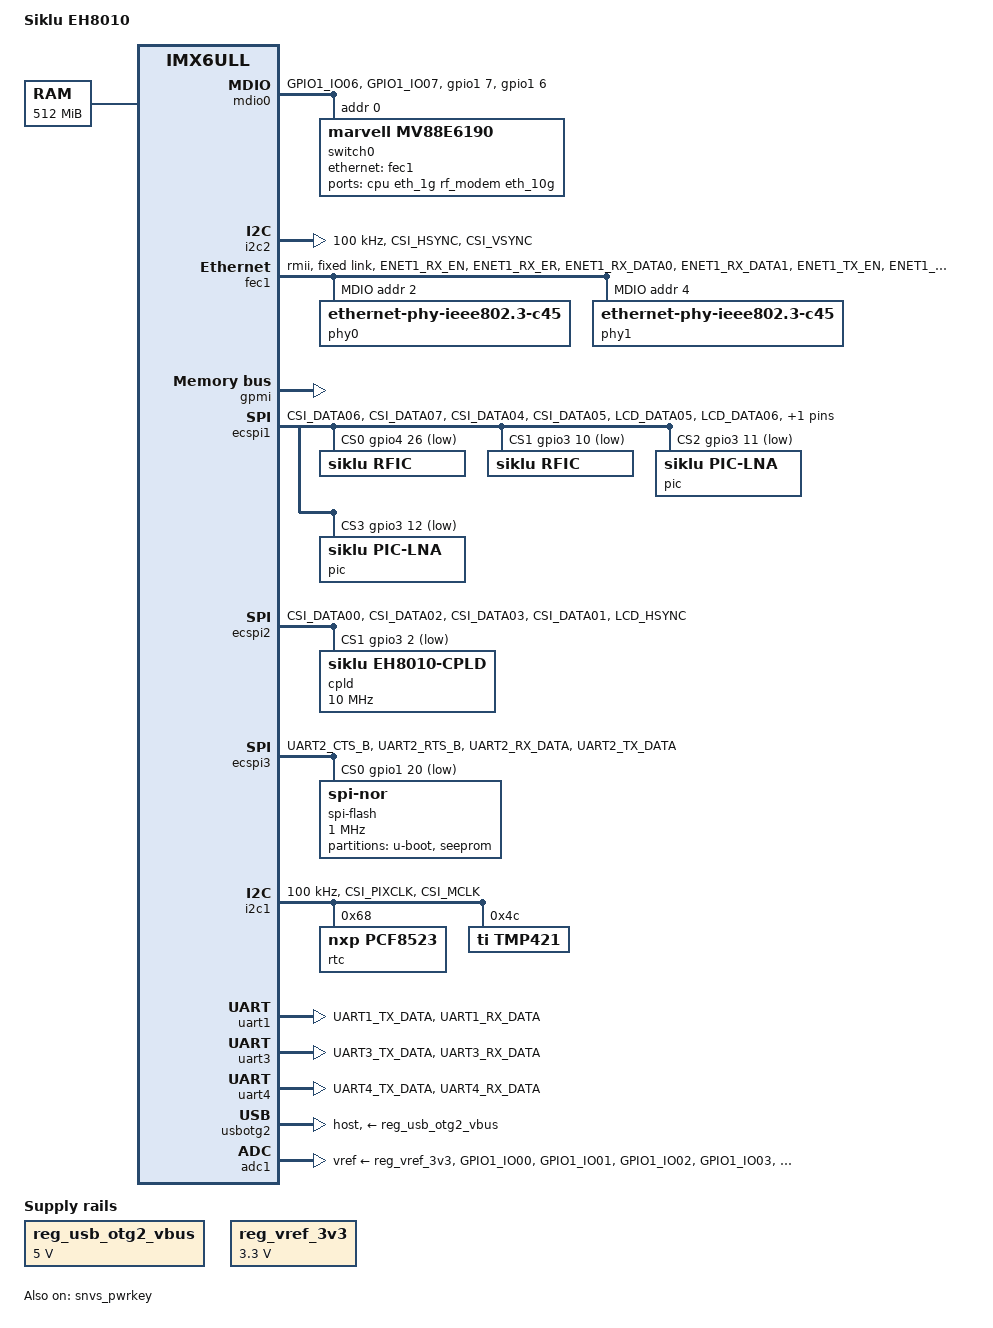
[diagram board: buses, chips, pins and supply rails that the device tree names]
// SPDX-License-Identifier: GPL-2.0
//
// Copyright (C) 2015 Freescale Semiconductor, Inc.

/dts-v1/;

#include "imx6ull.dtsi"

/ {
	model = "Siklu EH8010";
	compatible = "fsl,imx6ull";

	aliases {
		mdio-gpio0 = &mdio0;
	};

	chosen {
		stdout-path = &uart1;
	};

	memory@80000000 {
		device_type = "memory";
		reg = <0x80000000 0x20000000>;
	};

	reserved-memory {
		#address-cells = <1>;
		#size-cells = <1>;
		ranges;

		linux,cma {
			compatible = "shared-dma-pool";
			reusable;
			size = <0x14000000>;
			linux,cma-default;
		};
	};

	reg_usb_otg2_vbus: regulator-usb-otg {
		compatible = "regulator-fixed";
		regulator-name = "usb_otg2_vbus";
		regulator-min-microvolt = <5000000>;
		regulator-max-microvolt = <5000000>;
	};

	reg_vref_3v3: regulator-vref-3v3 {
		compatible = "regulator-fixed";
		regulator-name = "vref-3v3";
		regulator-min-microvolt = <3300000>;
		regulator-max-microvolt = <3300000>;
	};

	mdio0: bitbang-mdio {
		compatible = "virtual,mdio-gpio";
		pinctrl-names = "default";
		pinctrl-0 = <&pinctrl_mdio_bitbang>;
		gpios = <&gpio1 7 GPIO_ACTIVE_HIGH>, /* MDC */
			<&gpio1 6 GPIO_ACTIVE_HIGH>; /* MDIO */
		#address-cells = <1>;
		#size-cells = <0>;

		switch0@0 {
			compatible = "marvell,mv88e6190";
			reg = <0>;

			ports {
				#address-cells = <1>;
				#size-cells = <0>;

				port@0 {
					reg = <0>;
					label = "cpu";
					ethernet = <&fec1>;
					phy-mode = "rmii";
					fixed-link {
						speed = <100>;
						full-duplex;
					};
				};

				port@5 {
					reg = <5>;
					label = "eth_1g";
				};

				port@9 {
					reg = <9>;
					label = "rf_modem";
					phy-mode = "10gbase-r";
					phy-handle = <&phy1>;
				};

				port@10 {
					reg = <10>;
					label = "eth_10g";
					phy-mode = "10gbase-r";
					phy-handle = <&phy0>;
				};
			};
		};
	};
};

&clks {
	assigned-clocks = <&clks IMX6UL_CLK_PLL4_AUDIO_DIV>;
	assigned-clock-rates = <786432000>;
};

&i2c2 {
	clock-frequency = <100000>;
	pinctrl-names = "default";
	pinctrl-0 = <&pinctrl_i2c2>;
	status = "okay";
};

&fec1 {
	pinctrl-names = "default";
	pinctrl-0 = <&pinctrl_enet1>;
	phy-mode = "rmii";
	status = "okay";
	fixed-link {
		speed = <100>;
		full-duplex;
	};

	mdio {
		#address-cells = <1>;
		#size-cells = <0>;
		status = "okay";

		phy0: ethernet-phy@2 {
			compatible = "ethernet-phy-ieee802.3-c45";
			reg = <2>;
		};

		phy1: ethernet-phy@4 {
			compatible = "ethernet-phy-ieee802.3-c45";
			reg = <4>;
		};
	};
};

&gpmi {
	status = "okay";
};

&ecspi1 {
	cs-gpios = <
		&gpio4 26 GPIO_ACTIVE_LOW
		&gpio3 10 GPIO_ACTIVE_LOW
		&gpio3 11 GPIO_ACTIVE_LOW
		&gpio3 12 GPIO_ACTIVE_LOW
	>;
	pinctrl-names = "default";
	pinctrl-0 = <&pinctrl_ecspi1>;
	status = "okay";

	rfic@0 {
		compatible = "siklu,rfic";
		reg = <0>;
	};

	rfic@1 {
		compatible = "siklu,rfic";
		reg = <1>;
	};

	pic@2 {
		compatible = "siklu,pic-lna";
		reg = <2>;
	};

	pic@3 {
		compatible = "siklu,pic-lna";
		reg = <3>;
	};
};

&ecspi2 {
	cs-gpios = <
		&gpio4 22 GPIO_ACTIVE_LOW
		&gpio3 2 GPIO_ACTIVE_LOW
	>;
	pinctrl-names = "default";
	pinctrl-0 = <&pinctrl_ecspi2>;
	status = "okay";

	cpld@1 {
		compatible = "siklu,eh8010-cpld";
		spi-max-frequency = <10000000>;
		reg = <1>;

		cpld_wd: watchdog {
			compatible = "siklu,eh8010-cpld-wdt";
		};

		reset {
			compatible = "siklu,eh8010-cpld-reset";
		};
	};
};

&ecspi3 {
	cs-gpios = <
		&gpio1 20 GPIO_ACTIVE_LOW
	>;
	pinctrl-names = "default";
	pinctrl-0 = <&pinctrl_ecspi3>;
	status = "okay";

	spi-flash@0 {
		#address-cells = <1>;
		#size-cells = <1>;
		compatible = "jedec,spi-nor";
		reg = <0>;
		spi-max-frequency = <1000000>;

		partition@0 {
			reg = <0x0 0x200000>;
			label = "u-boot";
			read-only;
		};

		partition@1f0000 {
			reg = <0x1f0000 0x10000>;
			label = "seeprom";
		};
	};
};

&i2c1 {
	clock-frequency = <100000>;
	pinctrl-names = "default";
	pinctrl-0 = <&pinctrl_i2c1>;
	status = "okay";

	rtc: pcf8523@68 {
		compatible = "nxp,pcf8523";
		reg = <0x68>;
	};

	tmp421@4c {
		compatible = "ti,tmp421";
		reg = <0x4c>;
	};
};

&snvs_poweroff {
	status = "okay";
};

&snvs_pwrkey {
	status = "okay";
};

&uart1 {
	pinctrl-names = "default";
	pinctrl-0 = <&pinctrl_uart1>;
	status = "okay";
};

&uart3 {
	pinctrl-names = "default";
	pinctrl-0 = <&pinctrl_uart3>;
	status = "okay";
};

&uart4 {
	pinctrl-names = "default";
	pinctrl-0 = <&pinctrl_uart4>;
	status = "okay";
};

&usbotg2 {
	vbus-supply = <&reg_usb_otg2_vbus>;
	dr_mode = "host";
	disable-over-current;
	status = "okay";
};

&usbphy2 {
	fsl,tx-d-cal = <106>;
};

&adc1 {
	pinctrl-names = "default";
	pinctrl-0 = <&pinctrl_adc1>;
	vref-supply = <&reg_vref_3v3>;
	num-channels = <8>;
	status = "okay";
};

&iomuxc {
	pinctrl-names = "default";

	pinctrl_enet1: enet1grp {
		fsl,pins = <
			MX6UL_PAD_ENET1_RX_EN__ENET1_RX_EN	0x1b0b0
			MX6UL_PAD_ENET1_RX_ER__ENET1_RX_ER	0x1b0b0
			MX6UL_PAD_ENET1_RX_DATA0__ENET1_RDATA00	0x1b0b0
			MX6UL_PAD_ENET1_RX_DATA1__ENET1_RDATA01	0x1b0b0
			MX6UL_PAD_ENET1_TX_EN__ENET1_TX_EN	0x1b0b0
			MX6UL_PAD_ENET1_TX_DATA0__ENET1_TDATA00	0x1b0b0
			MX6UL_PAD_ENET1_TX_DATA1__ENET1_TDATA01	0x1b0b0
			MX6UL_PAD_ENET1_TX_CLK__ENET1_REF_CLK1	0x4001b031
			MX6UL_PAD_ENET2_RX_DATA0__ENET1_MDIO	0xb829
			MX6UL_PAD_ENET2_RX_DATA1__ENET1_MDC	0xb029
		>;
	};

	pinctrl_mdio_bitbang: mdio0grp {
		fsl,pins = <
			MX6UL_PAD_GPIO1_IO06__GPIO1_IO06	0x1b8b0
			MX6UL_PAD_GPIO1_IO07__GPIO1_IO07	0x1b0b0
		>;
	};

	pinctrl_i2c1: i2c1grp {
		fsl,pins = <
			MX6UL_PAD_CSI_PIXCLK__I2C1_SCL	0x4001b8b0
			MX6UL_PAD_CSI_MCLK__I2C1_SDA	0x4001b8b0
		>;
	};

	pinctrl_i2c2: i2c2grp {
		fsl,pins = <
			MX6UL_PAD_CSI_HSYNC__I2C2_SCL	0x4001b8b0
			MX6UL_PAD_CSI_VSYNC__I2C2_SDA	0x4001b8b0
		>;
	};

	pinctrl_uart1: uart1grp {
		fsl,pins = <
			MX6UL_PAD_UART1_TX_DATA__UART1_DCE_TX 0x1b0b1
			MX6UL_PAD_UART1_RX_DATA__UART1_DCE_RX 0x1b0b1
		>;
	};

	pinctrl_uart3: uart3grp {
		fsl,pins = <
			MX6UL_PAD_UART3_TX_DATA__UART3_DCE_TX 0x1b0b1
			MX6UL_PAD_UART3_RX_DATA__UART3_DCE_RX 0x1b0b1
		>;
	};

	pinctrl_uart4: uart4grp {
		fsl,pins = <
			MX6UL_PAD_UART4_TX_DATA__UART4_DCE_TX 0x1b0b1
			MX6UL_PAD_UART4_RX_DATA__UART4_DCE_RX 0x1b0b1
		>;
	};

	pinctrl_adc1: adc1grp {
		fsl,pins = <
			MX6UL_PAD_GPIO1_IO00__GPIO1_IO00        0xb0
			MX6UL_PAD_GPIO1_IO01__GPIO1_IO01        0xb0
			MX6UL_PAD_GPIO1_IO02__GPIO1_IO02        0xb0
			MX6UL_PAD_GPIO1_IO03__GPIO1_IO03        0xb0
			MX6UL_PAD_GPIO1_IO04__GPIO1_IO04        0xb0
			MX6UL_PAD_GPIO1_IO05__GPIO1_IO05        0xb0
			/* skip GPIO1_IO06 and GPIO1_IO07       */
			MX6UL_PAD_GPIO1_IO08__GPIO1_IO08        0xb0
			MX6UL_PAD_GPIO1_IO09__GPIO1_IO09        0xb0
		>;
	};

	pinctrl_ecspi1: ecspi1grp {
		fsl,pins = <
			MX6UL_PAD_CSI_DATA06__ECSPI1_MOSI 0x10b0
			MX6UL_PAD_CSI_DATA07__ECSPI1_MISO 0x10b0
			MX6UL_PAD_CSI_DATA04__ECSPI1_SCLK 0x10b0
			MX6UL_PAD_CSI_DATA05__GPIO4_IO26  0x10b0
			MX6UL_PAD_LCD_DATA05__GPIO3_IO10  0x10b0
			MX6UL_PAD_LCD_DATA06__GPIO3_IO11  0x10b0
			MX6UL_PAD_LCD_DATA07__GPIO3_IO12  0x10b0
		>;
	};

	pinctrl_ecspi2: ecspi2grp {
		fsl,pins = <
			MX6UL_PAD_CSI_DATA00__ECSPI2_SCLK 0x10b0
			MX6UL_PAD_CSI_DATA02__ECSPI2_MOSI 0x10b0
			MX6UL_PAD_CSI_DATA03__ECSPI2_MISO 0x10b0
			MX6UL_PAD_CSI_DATA01__GPIO4_IO22  0x10b0
			MX6UL_PAD_LCD_HSYNC__GPIO3_IO02   0x10b0
		>;
	};

	pinctrl_ecspi3: ecspi3grp {
		fsl,pins = <
			MX6UL_PAD_UART2_CTS_B__ECSPI3_MOSI   0x10b0
			MX6UL_PAD_UART2_RTS_B__ECSPI3_MISO   0x10b0
			MX6UL_PAD_UART2_RX_DATA__ECSPI3_SCLK 0x10b0
			MX6UL_PAD_UART2_TX_DATA__GPIO1_IO20  0x10b0
		>;
	};
};
